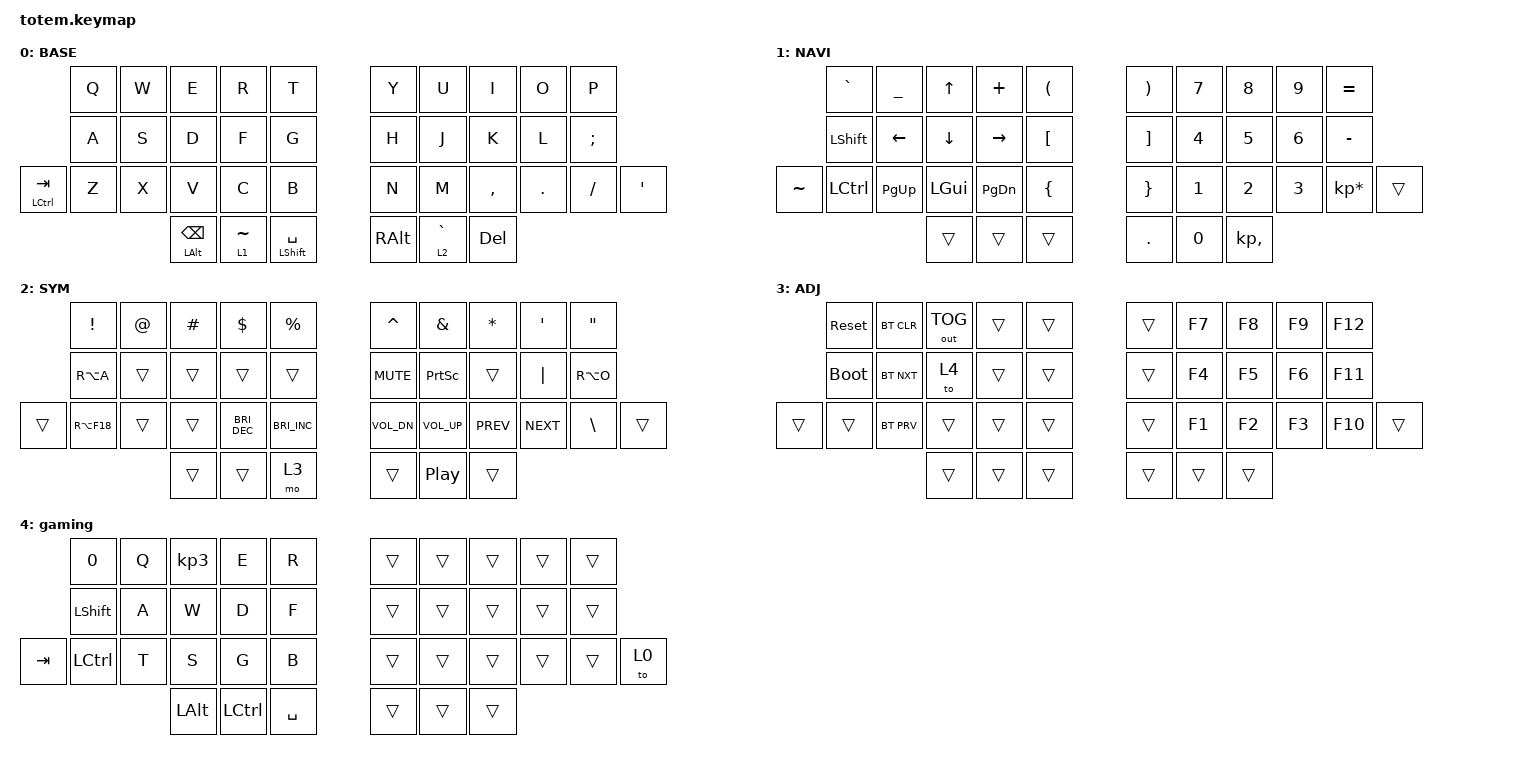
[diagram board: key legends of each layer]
//
//                                                        ▀▀▀▀▀     ▀▀▀▀▀          ▀▀█▀▀
//                                                        ▄▀▀▀▄  ▄  ▄▀▀▀▄  ▄  ▄▀▀▀▄  █  ▄▀▀▀▄
//                                                        █   █  █  █   █  █  █   █  █  █   █
//                                                         ▀▀▀   █   ▀▀▀   █   ▀▀▀   ▀   ▀▀▀
//                                                               █      ▄▄▄█▄▄▄    █   █  
//                                                               ▀      █  █  █     █▄█
//                                                             ▀▀▀▀▀    █  █  █      ▀
//                                                                      ▀  ▀  ▀
//
// ▄▄▄▄▄▄▄▄▄▄▄▄▄▄▄▄▄▄▄▄▄▄▄▄▄▄▄▄▄▄▄▄▄▄▄▄▄▄▄▄▄▄▄▄▄▄▄▄▄▄▄▄▄▄▄▄▄▄▄▄▄▄▄▄▄▄▄▄▄▄▄▄▄▄▄▄▄▄▄▄▄▄▄▄▄▄▄▄▄▄▄▄▄▄▄▄▄▄▄▄▄▄▄▄▄▄▄▄▄▄▄▄▄▄▄▄▄▄▄▄▄▄▄▄▄▄▄▄▄▄▄▄▄▄▄▄▄▄▄▄▄▄▄▄▄▄▄▄▄

#include <behaviors.dtsi>
#include <dt-bindings/zmk/bt.h>
#include <dt-bindings/zmk/keys.h>
#include <dt-bindings/zmk/outputs.h>

#define BASE 0
#define NAV  1
#define SYM  2
#define ADJ  3
#define TVP1 4
#define TVP2 5

&mt {
    quick-tap-ms = <150>;
    global-quick-tap;
    flavor = "tap-preferred";
    tapping-term-ms = <170>;
};

/ {
    combos {
        compatible = "zmk,combos";

        combo_esc {
            timeout-ms = <60>;
            key-positions = <0 1>;
            bindings = <&kp ESCAPE>;
            require-prior-idle-ms = <120>;
        };

        dash {
            bindings = <&kp MINUS>;
            key-positions = <19 31>;
            timeout-ms = <70>;
        };

        enter_right_combo {
            bindings = <&kp ENTER>;
            key-positions = <16 18 17>;
            timeout-ms = <70>;
            require-prior-idle-ms = <100>;
        };
    };

    behaviors {
        mt_left: mt_left {
            compatible = "zmk,behavior-hold-tap";
            label = "MT_LEFT";
            bindings = <&kp>, <&kp>;

            #binding-cells = <2>;
            tapping-term-ms = <400>;
            quick-tap-ms = <170>;
            flavor = "balanced";
            hold-trigger-key-positions = <26 27 16 15 5 6 7 5 6 7 8 9 15 16 17 18 19 26 27 28 29 31 5 6 7 8 9 15 16 17 18 19 26 27 28 29 30 31 35 36 37 32 33 34>;
            require-prior-idle-ms = <50>;
            hold-trigger-on-release;
        };

        mt_right: mt_right {
            compatible = "zmk,behavior-hold-tap";
            label = "MT_RIGHT";
            bindings = <&kp>, <&kp>;

            #binding-cells = <2>;
            tapping-term-ms = <400>;
            quick-tap-ms = <170>;
            flavor = "balanced";
            require-prior-idle-ms = <50>;
            hold-trigger-on-release;
            hold-trigger-key-positions = <0 1 4 10 11 12 13 14 20 21 22 23 24 25 2 35 36 37 3 32 33 34>;
        };

        mt_thumb: mt_thumb {
            compatible = "zmk,behavior-hold-tap";
            label = "MT_THUMB";
            bindings = <&kp>, <&kp>;

            #binding-cells = <2>;
            quick-tap-ms = <220>;
            flavor = "balanced";
            tapping-term-ms = <100>;
            require-prior-idle-ms = <0>;
        };

        mt_shift_left: mt_shift_left {
            compatible = "zmk,behavior-hold-tap";
            label = "MT_SHIFT_LEFT";
            bindings = <&kp>, <&kp>;

            #binding-cells = <2>;
            tapping-term-ms = <175>;
            quick-tap-ms = <175>;
            flavor = "tap-preferred";
            hold-trigger-key-positions = <19 26 27 29 30 31 36 37 35 36 32 33 34 5 6 7 8 9 15 16 17 18 19 26 27 28 29 31>;
            require-prior-idle-ms = <20>;
        };

        mt_shift_right: mt_shift_right {
            compatible = "zmk,behavior-hold-tap";
            label = "MT_SHIFT_RIGHT";
            bindings = <&kp>, <&kp>;

            #binding-cells = <2>;
            tapping-term-ms = <175>;
            quick-tap-ms = <175>;
            flavor = "tap-preferred";
            hold-trigger-key-positions = <0 1 2 3 4 10 11 12 13 14 20 21 22 23 24 25 32 33 34 35 36 37>;
            require-prior-idle-ms = <20>;
        };

        hold_sticky: hold_sticky {
            compatible = "zmk,behavior-hold-tap";
            label = "HOLD_STICKY";
            bindings = <&kp>, <&sk>;

            #binding-cells = <2>;
            flavor = "hold-preferred";
            tapping-term-ms = <150>;
            quick-tap-ms = <220>;
        };

        mt_all: mt_all {
            compatible = "zmk,behavior-hold-tap";
            label = "MT_ALL";
            bindings = <&kp>, <&kp>;

            #binding-cells = <2>;
            tapping-term-ms = <175>;
            quick-tap-ms = <175>;
            flavor = "balanced";
            require-prior-idle-ms = <35>;
            hold-trigger-on-release;
        };
    };

    keymap {
        compatible = "zmk,keymap";

        // ▄▄▄▄▄▄▄▄▄▄▄▄▄▄▄▄▄▄▄▄▄▄▄▄▄▄▄▄▄▄▄▄▄▄▄▄▄▄▄▄▄▄▄▄▄▄▄▄▄▄▄▄▄▄▄▄▄▄▄▄▄▄▄▄▄▄▄▄▄▄▄▄▄▄▄▄▄▄▄▄▄▄▄▄▄▄▄▄▄▄▄▄▄▄▄▄▄▄▄▄▄▄▄▄▄▄▄▄▄▄▄▄▄▄▄▄▄▄▄▄▄▄▄▄▄▄▄▄▄▄▄▄▄▄▄▄▄▄▄▄▄▄▄▄▄▄▄▄▄

        base_layer {
            // ┏━━━━━━━━━━━━━━━━━━━━━━━━━━━━━━━━━━━━━━━┓

            label = "BASE";

            // ┗━━━━━━━━━━━━━━━━━━━━━━━━━━━━━━━━━━━━━━━┛
            //             ┏━━━━━━━━━━━┳━━━━━━━━━━━┳━━━━━━━━━━━┳━━━━━━━━━━━┳━━━━━━━━━━━┓   ┏━━━━━━━━━━━┳━━━━━━━━━━━┳━━━━━━━━━━━┳━━━━━━━━━━━┳━━━━━━━━━━━┓
            //             ┃     Q     ┃     W     ┃     F     ┃     P     ┃     G     ┃   ┃     J     ┃     L     ┃     U     ┃     Y     ┃     ;     ┃
            //             ┣━━━━━━━━━━━╋━━━━━━━━━━━╋━━━━━━━━━━━╋━━━━━━━━━━━╋━━━━━━━━━━━┫   ┣━━━━━━━━━━━╋━━━━━━━━━━━╋━━━━━━━━━━━╋━━━━━━━━━━━╋━━━━━━━━━━━┫
            //             ┃     A     ┃     R     ┃     S     ┃     T     ┃     D     ┃   ┃     H     ┃     N     ┃     E     ┃     I     ┃     O     ┃
            // ┏━━━━━━━━━━━╋━━━━━━━━━━━╋━━━━━━━━━━━╋━━━━━━━━━━━╋━━━━━━━━━━━╋━━━━━━━━━━━┫   ┣━━━━━━━━━━━╋━━━━━━━━━━━╋━━━━━━━━━━━╋━━━━━━━━━━━╋━━━━━━━━━━━╋━━━━━━━━━━━┓
            // ┃     Q     ┃     Z     ┃     X     ┃     C     ┃     V     ┃     B     ┃   ┃     K     ┃     M     ┃     ,     ┃     .     ┃     /     ┃     \     ┃
            // ┗━━━━━━━━━━━┻━━━━━━━━━━━┻━━━━━━━━━━━╋━━━━━━━━━━━╋━━━━━━━━━━━╋━━━━━━━━━━━┫   ┣━━━━━━━━━━━╋━━━━━━━━━━━╋━━━━━━━━━━━╋━━━━━━━━━━━┻━━━━━━━━━━━┻━━━━━━━━━━━┛
            //                                     ┃    DEL    ┃    TAB    ┃    SPC    ┃   ┃   ENTER   ┃           ┃   BSPC    ┃
            //                                     ┗━━━━━━━━━━━┻━━━━━━━━━━━┻━━━━━━━━━━━┛   ┗━━━━━━━━━━━┻━━━━━━━━━━━┻━━━━━━━━━━━┛

            bindings = <
                          &kp Q  &kp W  &kp E                       &kp R        &kp T                       &kp Y          &kp U        &kp I       &kp O    &kp P
                          &kp A  &kp S  &kp D                       &kp F        &kp G                       &kp H          &kp J        &kp K       &kp L    &kp SEMICOLON
&mt_all LEFT_CONTROL TAB  &kp Z  &kp X  &kp V                       &kp C        &kp B                       &kp N          &kp M        &kp COMMA   &kp DOT  &kp FSLH       &kp SQT
                                        &mt_all LEFT_ALT BACKSPACE  &lt 1 TILDE  &mt_all LEFT_SHIFT SPACE    &kp RIGHT_ALT  &lt 2 GRAVE  &kp DELETE
            >;
        };

        // ▄▄▄▄▄▄▄▄▄▄▄▄▄▄▄▄▄▄▄▄▄▄▄▄▄▄▄▄▄▄▄▄▄▄▄▄▄▄▄▄▄▄▄▄▄▄▄▄▄▄▄▄▄▄▄▄▄▄▄▄▄▄▄▄▄▄▄▄▄▄▄▄▄▄▄▄▄▄▄▄▄▄▄▄▄▄▄▄▄▄▄▄▄▄▄▄▄▄▄▄▄▄▄▄▄▄▄▄▄▄▄▄▄▄▄▄▄▄▄▄▄▄▄▄▄▄▄▄▄▄▄▄▄▄▄▄▄▄▄▄▄▄▄▄▄▄▄▄▄

        nav_layer {
            // ┏━━━━━━━━━━━━━━━━━━━━━━━━━━━━━━━━━━━━━━━┓

            label = "NAVI";

            // ┗━━━━━━━━━━━━━━━━━━━━━━━━━━━━━━━━━━━━━━━┛
            //             ┏━━━━━━━━━━━┳━━━━━━━━━━━┳━━━━━━━━━━━┳━━━━━━━━━━━┳━━━━━━━━━━━┓   ┏━━━━━━━━━━━┳━━━━━━━━━━━┳━━━━━━━━━━━┳━━━━━━━━━━━┳━━━━━━━━━━━┓
            //             ┃           ┃           ┃     UP    ┃           ┃     {     ┃   ┃     }     ┃     7     ┃     8     ┃     9     ┃     +     ┃
            //             ┣━━━━━━━━━━━╋━━━━━━━━━━━╋━━━━━━━━━━━╋━━━━━━━━━━━╋━━━━━━━━━━━┫   ┣━━━━━━━━━━━╋━━━━━━━━━━━╋━━━━━━━━━━━╋━━━━━━━━━━━╋━━━━━━━━━━━┫
            //             ┃   SHIFT   ┃   LEFT    ┃    DOWN   ┃   RIGHT   ┃     [     ┃   ┃     ]     ┃     4     ┃     5     ┃     6     ┃     -     ┃
            // ┏━━━━━━━━━━━╋━━━━━━━━━━━╋━━━━━━━━━━━╋━━━━━━━━━━━╋━━━━━━━━━━━╋━━━━━━━━━━━┫   ┣━━━━━━━━━━━╋━━━━━━━━━━━╋━━━━━━━━━━━╋━━━━━━━━━━━╋━━━━━━━━━━━╋━━━━━━━━━━━┓
            // ┃           ┃           ┃   P UP    ┃  C LOCK   ┃  P DOWN   ┃     (     ┃   ┃     )     ┃     1     ┃     2     ┃     3     ┃     *     ┃           ┃
            // ┗━━━━━━━━━━━┻━━━━━━━━━━━┻━━━━━━━━━━━╋━━━━━━━━━━━╋━━━━━━━━━━━╋━━━━━━━━━━━┫   ┣━━━━━━━━━━━╋━━━━━━━━━━━╋━━━━━━━━━━━╋━━━━━━━━━━━┻━━━━━━━━━━━┻━━━━━━━━━━━┛
            //                                     ┃           ┃    TAB    ┃    SPC    ┃   ┃    DEL    ┃     0     ┃           ┃
            //                                     ┗━━━━━━━━━━━┻━━━━━━━━━━━┻━━━━━━━━━━━┛   ┗━━━━━━━━━━━┻━━━━━━━━━━━┻━━━━━━━━━━━┛

            bindings = <
           &kp GRAVE         &kp UNDER       &kp UP          &kp PLUS         &kp LEFT_PARENTHESIS    &kp RIGHT_PARENTHESIS  &kp N7        &kp N8        &kp N9        &kp EQUAL
           &kp LEFT_SHIFT    &kp LEFT_ARROW  &kp DOWN_ARROW  &kp RIGHT_ARROW  &kp LBKT                &kp RBKT               &kp NUMBER_4  &kp N5        &kp NUMBER_6  &kp MINUS
&kp TILDE  &kp LEFT_CONTROL  &kp PG_UP       &kp LEFT_GUI    &kp PG_DN        &kp LEFT_BRACE          &kp RIGHT_BRACE        &kp NUMBER_1  &kp N2        &kp N3        &kp KP_MULTIPLY  &trans
                                             &trans          &trans           &trans                  &kp PERIOD             &kp N0        &kp KP_COMMA
            >;
        };

        // ▄▄▄▄▄▄▄▄▄▄▄▄▄▄▄▄▄▄▄▄▄▄▄▄▄▄▄▄▄▄▄▄▄▄▄▄▄▄▄▄▄▄▄▄▄▄▄▄▄▄▄▄▄▄▄▄▄▄▄▄▄▄▄▄▄▄▄▄▄▄▄▄▄▄▄▄▄▄▄▄▄▄▄▄▄▄▄▄▄▄▄▄▄▄▄▄▄▄▄▄▄▄▄▄▄▄▄▄▄▄▄▄▄▄▄▄▄▄▄▄▄▄▄▄▄▄▄▄▄▄▄▄▄▄▄▄▄▄▄▄▄▄▄▄▄▄▄▄▄

        sim_layer {
            // ┏━━━━━━━━━━━━━━━━━━━━━━━━━━━━━━━━━━━━━━━┓

            label = "SYM";

            // ┗━━━━━━━━━━━━━━━━━━━━━━━━━━━━━━━━━━━━━━━┛
            //             ┏━━━━━━━━━━━┳━━━━━━━━━━━┳━━━━━━━━━━━┳━━━━━━━━━━━┳━━━━━━━━━━━┓   ┏━━━━━━━━━━━┳━━━━━━━━━━━┳━━━━━━━━━━━┳━━━━━━━━━━━┳━━━━━━━━━━━┓
            //             ┃     !     ┃     @     ┃     #     ┃     $     ┃     %     ┃   ┃     ˆ     ┃     &     ┃     Ü     ┃     '     ┃     "     ┃
            //             ┣━━━━━━━━━━━╋━━━━━━━━━━━╋━━━━━━━━━━━╋━━━━━━━━━━━╋━━━━━━━━━━━┫   ┣━━━━━━━━━━━╋━━━━━━━━━━━╋━━━━━━━━━━━╋━━━━━━━━━━━╋━━━━━━━━━━━┫
            //             ┃     Ä     ┃           ┃    SZ     ┃           ┃           ┃   ┃   MUTE    ┃   YEN     ┃   EURO    ┃  POUND    ┃     Ö     ┃
            // ┏━━━━━━━━━━━╋━━━━━━━━━━━╋━━━━━━━━━━━╋━━━━━━━━━━━╋━━━━━━━━━━━╋━━━━━━━━━━━┫   ┣━━━━━━━━━━━╋━━━━━━━━━━━╋━━━━━━━━━━━╋━━━━━━━━━━━╋━━━━━━━━━━━╋━━━━━━━━━━━┓
            // ┃           ┃  EMAIL1   ┃  EMAIL2   ┃           ┃           ┃           ┃   ┃   VOL-    ┃   VOL+    ┃   LAST    ┃   NEXT    ┃     \     ┃           ┃
            // ┗━━━━━━━━━━━┻━━━━━━━━━━━┻━━━━━━━━━━━╋━━━━━━━━━━━╋━━━━━━━━━━━╋━━━━━━━━━━━┫   ┣━━━━━━━━━━━╋━━━━━━━━━━━╋━━━━━━━━━━━╋━━━━━━━━━━━┻━━━━━━━━━━━┻━━━━━━━━━━━┛
            //                                     ┃           ┃    GIF    ┃    ADJ    ┃   ┃           ┃           ┃           ┃
            //                                     ┗━━━━━━━━━━━┻━━━━━━━━━━━┻━━━━━━━━━━━┛   ┗━━━━━━━━━━━┻━━━━━━━━━━━┻━━━━━━━━━━━┛

            bindings = <
        &kp EXCL     &kp AT  &kp HASH  &kp DLLR       &kp PRCNT               &kp CARET     &kp AMPS         &kp ASTERISK  &kp SQT     &kp DQT
        &kp RA(A)    &trans  &trans    &trans         &trans                  &kp C_MUTE    &kp PRINTSCREEN  &trans        &kp PIPE    &kp RA(O)
&trans  &kp RA(F18)  &trans  &trans    &kp C_BRI_DEC  &kp C_BRIGHTNESS_INC    &kp C_VOL_DN  &kp C_VOL_UP     &kp C_PREV    &kp C_NEXT  &kp BSLH   &trans
                             &trans    &trans         &mo 3                   &trans        &kp C_PP         &trans
            >;
        };

        // ▄▄▄▄▄▄▄▄▄▄▄▄▄▄▄▄▄▄▄▄▄▄▄▄▄▄▄▄▄▄▄▄▄▄▄▄▄▄▄▄▄▄▄▄▄▄▄▄▄▄▄▄▄▄▄▄▄▄▄▄▄▄▄▄▄▄▄▄▄▄▄▄▄▄▄▄▄▄▄▄▄▄▄▄▄▄▄▄▄▄▄▄▄▄▄▄▄▄▄▄▄▄▄▄▄▄▄▄▄▄▄▄▄▄▄▄▄▄▄▄▄▄▄▄▄▄▄▄▄▄▄▄▄▄▄▄▄▄▄▄▄▄▄▄▄▄▄▄▄

        adjust_layer {
            // ┏━━━━━━━━━━━━━━━━━━━━━━━━━━━━━━━━━━━━━━━┓

            label = "ADJ";

            // ┗━━━━━━━━━━━━━━━━━━━━━━━━━━━━━━━━━━━━━━━┛
            //             ┏━━━━━━━━━━━┳━━━━━━━━━━━┳━━━━━━━━━━━┳━━━━━━━━━━━┳━━━━━━━━━━━┓   ┏━━━━━━━━━━━┳━━━━━━━━━━━┳━━━━━━━━━━━┳━━━━━━━━━━━┳━━━━━━━━━━━┓
            //             ┃   RESET   ┃ BT CLEAR  ┃  OUT TOG  ┃           ┃           ┃   ┃           ┃    F7     ┃    F8     ┃    F9     ┃    F12    ┃
            //             ┣━━━━━━━━━━━╋━━━━━━━━━━━╋━━━━━━━━━━━╋━━━━━━━━━━━╋━━━━━━━━━━━┫   ┣━━━━━━━━━━━╋━━━━━━━━━━━╋━━━━━━━━━━━╋━━━━━━━━━━━╋━━━━━━━━━━━┫
            //             ┃ BOOTLOAD  ┃ BT NEXT   ┃           ┃           ┃           ┃   ┃           ┃    F4     ┃    F5     ┃    F6     ┃    F11    ┃
            // ┏━━━━━━━━━━━╋━━━━━━━━━━━╋━━━━━━━━━━━╋━━━━━━━━━━━╋━━━━━━━━━━━╋━━━━━━━━━━━┫   ┣━━━━━━━━━━━╋━━━━━━━━━━━╋━━━━━━━━━━━╋━━━━━━━━━━━╋━━━━━━━━━━━╋━━━━━━━━━━━┓
            // ┃           ┃           ┃ BT PREV   ┃           ┃           ┃           ┃   ┃           ┃    F1     ┃    F2     ┃    F3     ┃    F10    ┃           ┃
            // ┗━━━━━━━━━━━┻━━━━━━━━━━━┻━━━━━━━━━━━╋━━━━━━━━━━━╋━━━━━━━━━━━╋━━━━━━━━━━━┫   ┣━━━━━━━━━━━╋━━━━━━━━━━━╋━━━━━━━━━━━╋━━━━━━━━━━━┻━━━━━━━━━━━┻━━━━━━━━━━━┛
            //                                     ┃           ┃           ┃           ┃   ┃           ┃           ┃           ┃
            //                                     ┗━━━━━━━━━━━┻━━━━━━━━━━━┻━━━━━━━━━━━┛   ┗━━━━━━━━━━━┻━━━━━━━━━━━┻━━━━━━━━━━━┛

            bindings = <
        &sys_reset   &bt BT_CLR  &out OUT_TOG  &trans  &trans    &trans  &kp F7  &kp F8  &kp F9  &kp F12
        &bootloader  &bt BT_NXT  &to 4         &trans  &trans    &trans  &kp F4  &kp F5  &kp F6  &kp F11
&trans  &trans       &bt BT_PRV  &trans        &trans  &trans    &trans  &kp F1  &kp F2  &kp F3  &kp F10  &trans
                                 &trans        &trans  &trans    &trans  &trans  &trans
            >;
        };

        // ▄▄▄▄▄▄▄▄▄▄▄▄▄▄▄▄▄▄▄▄▄▄▄▄▄▄▄▄▄▄▄▄▄▄▄▄▄▄▄▄▄▄▄▄▄▄▄▄▄▄▄▄▄▄▄▄▄▄▄▄▄▄▄▄▄▄▄▄▄▄▄▄▄▄▄▄▄▄▄▄▄▄▄▄▄▄▄▄▄▄▄▄▄▄▄▄▄▄▄▄▄▄▄▄▄▄▄▄▄▄▄▄▄▄▄▄▄▄▄▄▄▄▄▄▄▄▄▄▄▄▄▄▄▄▄▄▄▄▄▄▄▄▄▄▄▄▄▄▄
        // ▄▄▄▄▄▄▄▄▄▄▄▄▄▄▄▄▄▄▄▄▄▄▄▄▄▄▄▄▄▄▄▄▄▄▄▄▄▄▄▄▄▄▄▄▄▄▄▄▄▄▄▄▄▄▄▄▄▄▄▄▄▄▄▄▄▄▄▄▄▄▄▄▄▄▄▄▄▄▄▄▄▄▄▄▄▄▄▄▄▄▄▄▄▄▄▄▄▄▄▄▄▄▄▄▄▄▄▄▄▄▄▄▄▄▄▄▄▄▄▄▄▄▄▄▄▄▄▄▄▄▄▄▄▄▄▄▄▄▄▄▄▄▄▄▄▄▄▄▄

        gaming {
            bindings = <
         &kp N0            &kp Q  &kp KP_NUMBER_3  &kp E             &kp R        &trans  &trans  &trans  &trans  &trans
         &kp LEFT_SHIFT    &kp A  &kp W            &kp D             &kp F        &trans  &trans  &trans  &trans  &trans
&kp TAB  &kp LEFT_CONTROL  &kp T  &kp S            &kp G             &kp B        &trans  &trans  &trans  &trans  &trans  &to 0
                                  &kp LALT         &kp LEFT_CONTROL  &kp SPACE    &trans  &trans  &trans
            >;
        };
    };
};
